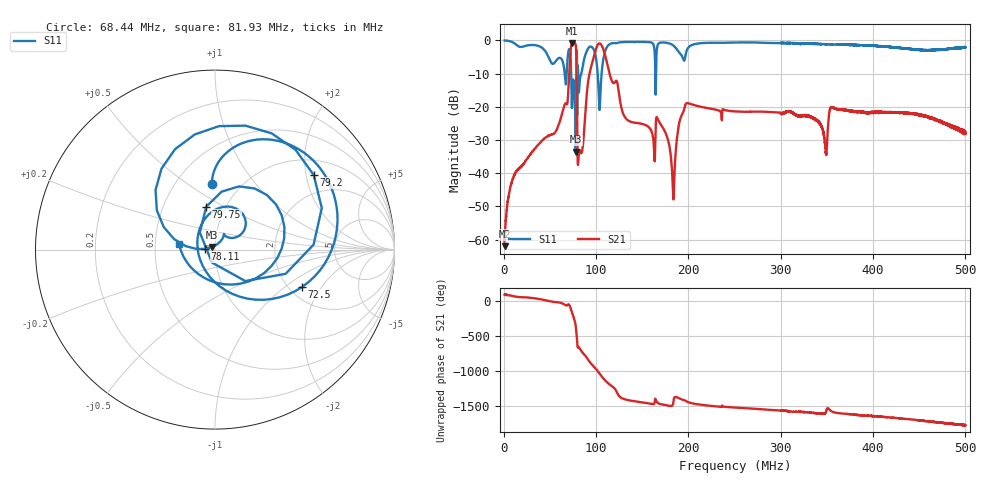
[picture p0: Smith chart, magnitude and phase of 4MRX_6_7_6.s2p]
! NanoVNA-App
! Date: 2026-08-19 15:07:26
! Start: 1MHz Stop: 500MHz Points: 6401
! S-Parameter data: F S11 S21 S12 S22
# Hz S RI R 50
!  Frequency  S11_Real  S11_Imag  S21_Real  S21_Imag  S12_Real  S12_Imag  S22_Real  S22_Imag
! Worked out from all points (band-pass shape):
!   6401 points, 1 MHz to 500 MHz, reference 50 ohm
!   highest |S21| = -0.80 dB at 74.13 MHz (marker M1); lowest = -62.0 dB at 1 MHz (marker M2)
!   |S21| within 3 dB of the highest: 72.32 MHz to 78.55 MHz (6.238 MHz wide, 8.27 % of centre); 98.63 MHz to 109.2 MHz (10.58 MHz wide, 10.2 % of centre)
!   lowest |S11| = -33.5 dB at 78.03 MHz (marker M3), VSWR 1.04, Z = 48.4 + j1.38 ohm
!   |S11| at or under -10 dB: 73.07 MHz to 78.43 MHz (5.356 MHz wide, 7.07 % of centre); 80.65 MHz to 84.03 MHz (3.384 MHz wide, 4.11 % of centre); 101.8 MHz to 106 MHz (4.243 MHz wide, 4.08 % of centre)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
!   S12 and S22 are empty: the file has one direction only
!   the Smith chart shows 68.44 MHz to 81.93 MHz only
!   S11 on the Smith chart (normalised r, x): 68.44 MHz: 0.74, +0.62; 72.5 MHz: 2.35, -1.35; 78.11 MHz: 0.90, +0.01; 79.2 MHz: 1.40, +2.22; 79.75 MHz: 0.81, +0.41; 81.93 MHz: 0.67, +0.04
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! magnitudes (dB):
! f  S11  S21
! 1 MHz  0.0  -62.0
! 11.6 MHz  -0.9  -40.5
! 68.44 MHz  -8.8  -19.3
! 72.5 MHz  -5.5  -3.1
! 74.13 MHz  -17.7  -0.8
! 78.03 MHz  -33.5  -1.4
! 78.11 MHz  -25.3  -1.5
! 79.2 MHz  -3.2  -14.4
! 79.75 MHz  -12.3  -30.3
! 81.93 MHz  -13.9  -33.1
! 84.19 MHz  -9.8  -33.9
! 95.5 MHz  -2.0  -7.1
! 103.3 MHz  -18.4  -0.9
! 112.1 MHz  -1.9  -7.1
! 132.3 MHz  -0.5  -23.5
! 167.4 MHz  -1.0  -24.0
! 183.5 MHz  -1.5  -46.8
! 198.2 MHz  -3.1  -18.9
! 250.5 MHz  -0.6  -21.4
! 333.7 MHz  -1.0  -23.3
! 416.9 MHz  -1.9  -21.7
! 500 MHz  -2.1  -28.2
